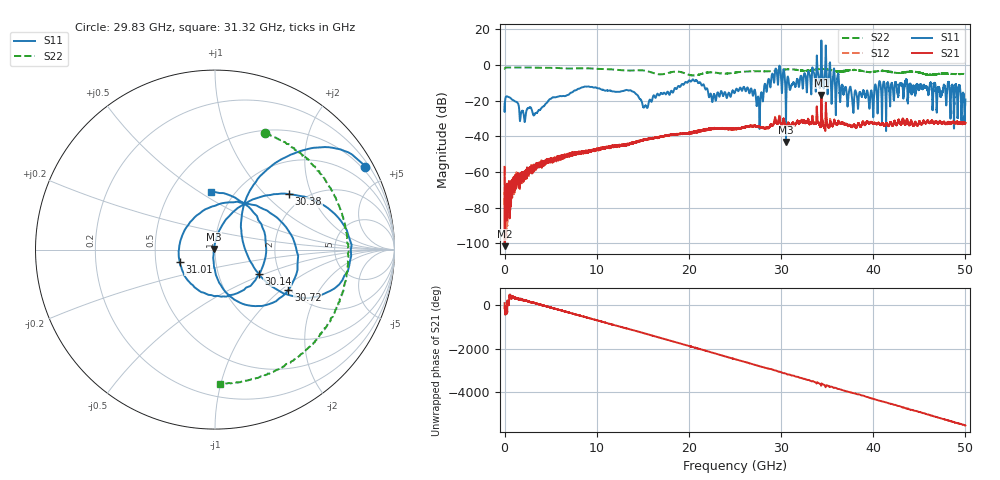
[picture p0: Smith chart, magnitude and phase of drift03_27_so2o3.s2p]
!Created with skrf (http://scikit-rf.org).
# Hz S RI R 50.0
!freq ReS11 ImS11 ReS21 ImS21 ReS12 ImS12 ReS22 ImS22
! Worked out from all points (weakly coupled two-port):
!   10001 points, 300 kHz to 50 GHz, reference 50 ohm
!   highest |S21| = -16.76 dB at 34.37 GHz (marker M1); lowest = -101.6 dB at 10.3 MHz (marker M2)
!   lowest |S11| = -43.1 dB at 30.53 GHz (marker M3), VSWR 1.01, Z = 49.4 + j0.347 ohm
!   |S11| at or under -10 dB: start of sweep to 19.56 GHz; 21.25 GHz to 28.55 GHz (7.298 GHz wide, 29.3 % of centre); 36.28 GHz to 40.63 GHz (4.342 GHz wide, 11.3 % of centre) (the widest 3 of 40)
!   |S22| runs from -5.9 to -1.3 dB; largest |S21 - S12| = 0.024
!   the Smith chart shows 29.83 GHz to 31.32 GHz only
!   S11 on the Smith chart (normalised r, x): 29.83 GHz: 0.36, +3.85; 30.14 GHz: 1.56, -0.45; 30.38 GHz: 1.67, +1.40; 30.72 GHz: 1.96, -1.12; 31.01 GHz: 0.66, -0.10; 31.32 GHz: 0.78, +0.56
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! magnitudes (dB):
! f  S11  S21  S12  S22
! 300 kHz  -21.7  -57.1  -57.4  -2.0
! 10.3 MHz  -25.6  -101.6  -77.9  -2.1
! 260.3 MHz  -17.6  -82.9  -77.3  -1.4
! 3.3 GHz  -27.3  -57.5  -57.1  -1.5
! 8.335 GHz  -12.6  -49.3  -49.4  -1.9
! 15.29 GHz  -22.7  -41.8  -41.6  -3.3
! 16.67 GHz  -16.5  -40.6  -40.5  -5.2
! 20.27 GHz  -9.1  -38.3  -37.9  -5.8
! 25 GHz  -15.3  -36.1  -35.8  -4.2
! 27.53 GHz  -17.8  -34.5  -34.6  -3.5
! 29.83 GHz  -0.4  -29.2  -28.7  -3.0
! 30.14 GHz  -11.1  -33.2  -33.4  -2.8
! 30.38 GHz  -5.8  -32.5  -32.4  -2.7
! 30.53 GHz  -43.1  -34.1  -34.0  -2.6
! 30.72 GHz  -6.6  -33.0  -32.7  -2.5
! 31.01 GHz  -13.6  -34.2  -34.1  -2.5
! 31.32 GHz  -9.9  -32.5  -32.5  -2.5
! 33.34 GHz  -7.3  -31.2  -31.2  -2.9
! 34.37 GHz  13.7  -16.8  -18.0  -2.3
! 37.85 GHz  -26.7  -33.7  -34.1  -2.8
! 41.67 GHz  -11.6  -34.1  -34.1  -3.7
! 50 GHz  -19.4  -32.6  -32.6  -5.0
